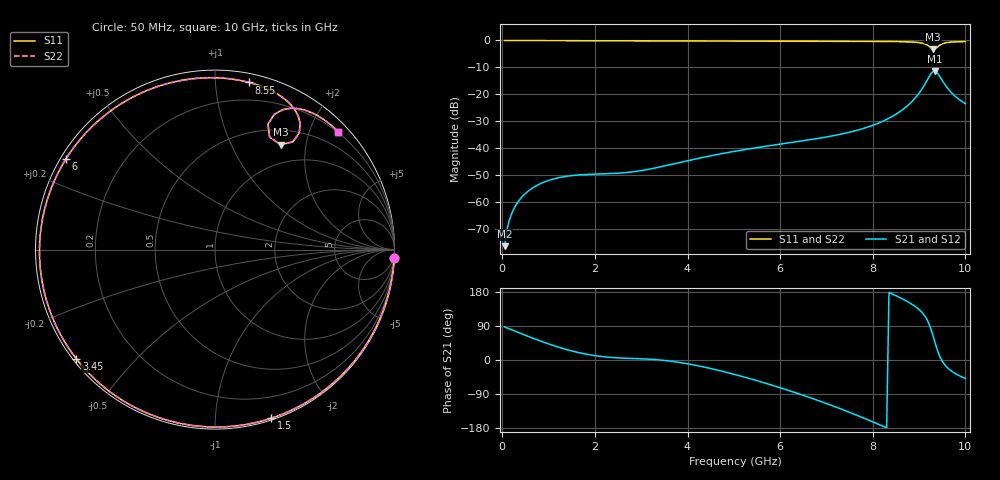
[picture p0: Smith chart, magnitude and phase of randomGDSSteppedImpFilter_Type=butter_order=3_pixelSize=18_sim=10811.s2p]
! freq	dB(S11)	phase(S11)	dB(S12)	phase(S12)
!  dB(S21)	phase(S21)	dB(S22)	phase(S22)
!S-par simulation data
#  GHz  S  DB  R 50
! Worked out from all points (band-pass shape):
!   200 points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, 50 MHz to 10 GHz, reference 50 ohm
!   highest |S21| = -11.46 dB at 9.35 GHz (marker M1); lowest = -76.5 dB at 50 MHz (marker M2)
!   |S21| within 3 dB of the highest: 9.184 GHz to 9.485 GHz (300.2 MHz wide, 3.22 % of centre)
!   lowest |S11| = -3.2 dB at 9.3 GHz (marker M3), VSWR 5.43, Z = 35.3 + j78.5 ohm
!   |S11| at or under -10 dB: nowhere
!   |S22| runs from -3.2 to 0.0 dB; largest |S21 - S12| = 0
!   S11 on the Smith chart (normalised r, x): 50 MHz: 0, -45; 1.5 GHz: 0.01, -1.39; 3.45 GHz: 0.01, -0.35; 6 GHz: 0.02, +0.28; 8.55 GHz: 0.06, +1.22; 10 GHz: 0.18, +2.48
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0.05  -0.00 -2.6  -76.47 87.1  -76.47 87.1  -0.00 -2.6
0.1  -0.01 -5.1  -70.45 84.7  -70.45 84.7  -0.01 -5.1
0.2  -0.01 -10.1  -64.47 79.8  -64.47 79.8  -0.01 -10.1
0.45  -0.03 -22.6  -57.71 67.5  -57.71 67.5  -0.03 -22.6
0.9  -0.06 -44.4  -52.66 46.7  -52.66 46.7  -0.06 -44.4
1.5  -0.08 -71.5  -50.24 24.0  -50.24 24.0  -0.08 -71.5
1.75  -0.09 -82.0  -49.88 16.9  -49.88 16.9  -0.09 -82.0
2.5  -0.12 -110.6  -49.36 5.6  -49.36 5.6  -0.12 -110.6
3.4  -0.14 -140.2  -47.04 0.1  -47.04 0.1  -0.14 -140.2
3.45  -0.14 -141.7  -46.86 -0.4  -46.86 -0.4  -0.14 -141.7
4.25  -0.17 -164.9  -43.77 -15.8  -43.77 -15.8  -0.17 -164.9
5.05  -0.20 173.5  -41.11 -39.2  -41.11 -39.2  -0.20 173.5
6  -0.25 148.7  -38.53 -73.2  -38.53 -73.2  -0.25 148.7
6.7  -0.28 130.4  -36.73 -101.7  -36.73 -101.7  -0.28 130.4
7.55  -0.33 107.5  -33.89 -140.6  -33.89 -140.6  -0.33 107.6
8.35  -0.40 84.6  -28.90 178.2  -28.90 178.2  -0.40 84.7
8.55  -0.44 78.5  -26.88 166.8  -26.88 166.8  -0.44 78.5
9.1  -1.14 58.1  -16.99 120.0  -16.99 120.0  -1.14 58.1
9.3  -3.24 58.0  -11.56 64.8  -11.56 64.8  -3.24 58.0
9.35  -3.14 64.1  -11.46 43.5  -11.46 43.5  -3.14 64.1
9.55  -0.96 61.6  -16.20 -11.8  -16.20 -11.8  -0.96 61.6
10  -0.44 43.7  -23.48 -48.9  -23.48 -48.9  -0.44 43.7
